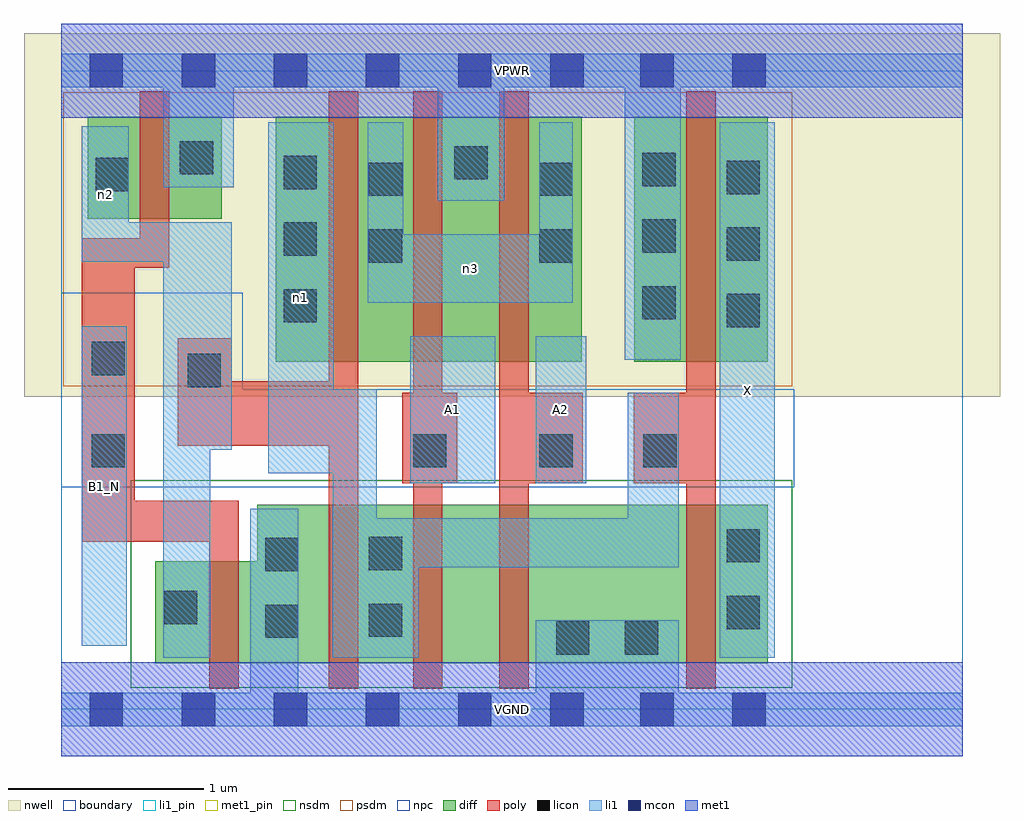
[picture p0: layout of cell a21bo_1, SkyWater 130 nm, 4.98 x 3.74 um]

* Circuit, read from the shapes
.subckt a21bo_1 A1 A2 B1_N VGND VPWR X n1 n2 n3
XM1 VGND B1_N n2 VSUBS sky130_fd_pr__nfet_01v8 w=0.52 l=0.15
XM2 n1 n2 VGND VSUBS sky130_fd_pr__nfet_01v8 w=0.81 l=0.15
XM3 n4 A1 n1 VSUBS sky130_fd_pr__nfet_01v8 w=0.81 l=0.15
XM4 VGND A2 n4 VSUBS sky130_fd_pr__nfet_01v8 w=0.81 l=0.15
XM5 X n1 VGND VSUBS sky130_fd_pr__nfet_01v8 w=0.81 l=0.15
XM6 VPWR B1_N n2 n5 sky130_fd_pr__pfet_01v8 w=0.52 l=0.15
XM7 n3 n2 n1 n5 sky130_fd_pr__pfet_01v8 w=1.25 l=0.15
XM8 VPWR A1 n3 n5 sky130_fd_pr__pfet_01v8 w=1.25 l=0.15
XM9 n3 A2 VPWR n5 sky130_fd_pr__pfet_01v8 w=1.25 l=0.15
XM10 X n1 VPWR n5 sky130_fd_pr__pfet_01v8 w=1.25 l=0.15
.ends

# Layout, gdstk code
import gdstk
lib = gdstk.Library(unit=1e-6, precision=1e-09)
def R(c, l, rs):  # rectangles x0, y0, x1, y1
    for r in rs: c.add(gdstk.rectangle(r[:2], r[2:], *l))
def A(c, l, x, y, w, h, nx, ny, dx, dy):  # array of equal rectangles
    R(c, l, [(x+i*dx, y+j*dy, x+i*dx+w, y+j*dy+h) for i in range(nx) for j in range(ny)])
nwell = (64, 20)
diff = (65, 20)
poly = (66, 20)
licon = (66, 44)
li1_pin = (67, 16)
li1 = (67, 20)
mcon = (67, 44)
met1_pin = (68, 16)
met1 = (68, 20)
nsdm = (93, 44)
psdm = (94, 20)
npc = (95, 20)
boundary = (235, 4)

a21bo_1 = lib.new_cell('a21bo_1')
R(a21bo_1, nwell, [(-0.19,1.595,4.79,3.45), (0,1.595,4.6,3.45)])
R(a21bo_1, diff, [(0.48,0.235,3.605,0.755), (1,0.235,3.605,1.045), (1.095,1.775,2.655,3.025), (2.925,1.775,3.605,3.025), (0.135,2.505,0.82,3.025)])
R(a21bo_1, poly, [(0.755,0.105,0.905,1.065), (1.365,0.105,1.515,3.155), (1.795,0.105,1.945,3.155), (2.235,0.105,2.385,3.155), (3.19,0.105,3.34,3.155), (0.105,0.855,0.375,2.405), (0.105,0.855,0.905,1.065), (1.74,1.155,2.02,1.615), (2.235,1.155,2.66,1.615), (2.92,1.155,3.34,1.615), (0.595,1.345,1.515,1.675), (0.595,1.345,0.87,1.895), (0.105,2.255,0.55,2.405), (0.4,2.255,0.55,3.155)])
A(a21bo_1, licon, 3.395, 1.95, 0.17, 0.17, 1, 3, 0, 0.34)
A(a21bo_1, licon, 1.135, 1.975, 0.17, 0.17, 1, 3, 0, 0.34)
A(a21bo_1, licon, 2.965, 1.99, 0.17, 0.17, 1, 3, 0, 0.34)
R(a21bo_1, licon, [(2.525,0.28,2.695,0.45), (2.875,0.28,3.045,0.45), (1.04,0.365,1.21,0.535), (1.57,0.37,1.74,0.54), (3.395,0.41,3.565,0.58), (0.525,0.435,0.695,0.605), (1.04,0.705,1.21,0.875), (1.57,0.71,1.74,0.88), (3.395,0.75,3.565,0.92), (0.155,1.235,0.325,1.405), (1.795,1.235,1.965,1.405), (2.44,1.235,2.61,1.405), (2.97,1.235,3.14,1.405), (0.645,1.645,0.815,1.815), (0.155,1.705,0.325,1.875), (1.57,2.28,1.74,2.45), (2.44,2.28,2.61,2.45), (1.57,2.62,1.74,2.79), (2.44,2.62,2.61,2.79), (0.175,2.645,0.345,2.815), (2.005,2.705,2.175,2.875), (0.605,2.73,0.775,2.9)])
R(a21bo_1, li1_pin, [(3.36,0.265,3.64,2.995), (0.105,0.325,0.335,1.955), (1.78,1.155,2.215,1.905), (2.42,1.155,2.68,1.905)])
R(a21bo_1, li1, [(0,-0.085,4.6,0.085), (0.965,-0.085,1.21,1.025), (2.42,-0.085,3.15,0.455), (0.52,0.265,0.76,2.485), (1.385,0.265,1.61,1.635), (1.385,0.265,1.825,0.975), (3.36,0.265,3.64,2.995), (0.105,0.325,0.335,1.955), (1.385,0.725,3.15,0.975), (2.89,0.725,3.15,1.615), (1.78,1.155,2.215,1.905), (2.42,1.155,2.68,1.905), (1.055,1.205,1.39,2.995), (0.52,1.325,0.87,2.485), (2.875,1.785,3.16,3.345), (1.565,2.075,2.61,2.425), (1.565,2.075,1.745,2.995), (2.44,2.075,2.61,2.995), (0.105,2.285,0.345,2.975), (0.105,2.285,0.87,2.485), (1.92,2.595,2.26,3.345), (0.52,2.665,0.88,3.345), (0,3.175,4.6,3.345)])
A(a21bo_1, mcon, 0.145, -0.085, 0.17, 0.17, 6, 2, 0.47, 3.26)
R(a21bo_1, mcon, [(2.955,-0.085,3.125,0.085), (3.425,-0.085,3.595,0.085), (2.955,3.175,3.125,3.345), (3.425,3.175,3.595,3.345)])
R(a21bo_1, met1_pin, [(0,-0.24,4.6,0.24), (0,3.02,4.6,3.5)])
R(a21bo_1, met1, [(0,-0.24,4.6,0.24), (0,3.02,4.6,3.5)])
R(a21bo_1, nsdm, [(0.355,0.11,3.73,1.17)])
R(a21bo_1, psdm, [(0.01,1.65,3.73,3.15)])
R(a21bo_1, npc, [(0,1.135,3.74,1.635), (0,1.135,0.925,2.125)])
R(a21bo_1, boundary, [(0,0,4.6,3.26)])
a21bo_1.add(gdstk.Label('A1', (1.997,1.53), layer=67, texttype=5))
a21bo_1.add(gdstk.Label('A2', (2.55,1.53), layer=67, texttype=5))
a21bo_1.add(gdstk.Label('B1_N', (0.22,1.14), layer=67, texttype=5))
a21bo_1.add(gdstk.Label('X', (3.5,1.63), layer=67, texttype=5))
a21bo_1.add(gdstk.Label('n2', (0.225,2.63), layer=67, texttype=5))
a21bo_1.add(gdstk.Label('n1', (1.222,2.1), layer=67, texttype=5))
a21bo_1.add(gdstk.Label('n3', (2.087,2.25), layer=67, texttype=5))
a21bo_1.add(gdstk.Label('VPWR', (2.3,3.26), layer=68, texttype=5))
a21bo_1.add(gdstk.Label('VGND', (2.3,0), layer=68, texttype=5))
a21bo_1.add(gdstk.Label('A1', (1.997,1.53), layer=67, texttype=16))
a21bo_1.add(gdstk.Label('A2', (2.55,1.53), layer=67, texttype=16))
a21bo_1.add(gdstk.Label('B1_N', (0.22,1.14), layer=67, texttype=16))
a21bo_1.add(gdstk.Label('X', (3.5,1.63), layer=67, texttype=16))
a21bo_1.add(gdstk.Label('VPWR', (2.3,3.26), layer=68, texttype=16))
a21bo_1.add(gdstk.Label('VGND', (2.3,0), layer=68, texttype=16))

lib.write_gds('a21bo_1.gds')
